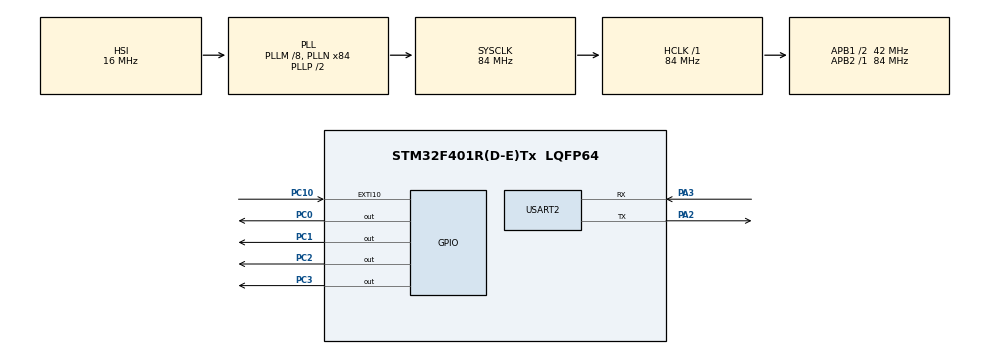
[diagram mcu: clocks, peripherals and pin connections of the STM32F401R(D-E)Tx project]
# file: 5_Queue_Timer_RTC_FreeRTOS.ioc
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Mcu.Family=STM32F4
Mcu.Name=STM32F401R(D-E)Tx
Mcu.Package=LQFP64
NVIC.EXTI15_10_IRQn=true\:0\:0\:false\:false\:true\:true\:true\:true
NVIC.PriorityGroup=NVIC_PRIORITYGROUP_4
NVIC.TIM2_IRQn=true\:15\:0\:false\:false\:true\:false\:true\:true
NVIC.TimeBase=TIM2_IRQn
NVIC.TimeBaseIP=TIM2
NVIC.USART2_IRQn=true\:0\:0\:false\:false\:true\:true\:true\:true
PA2.Mode=Asynchronous
PA2.Signal=USART2_TX
PA3.Mode=Asynchronous
PA3.Signal=USART2_RX
PC0.GPIO_Speed=GPIO_SPEED_FREQ_VERY_HIGH
PC0.Signal=GPIO_Output
PC1.GPIO_Speed=GPIO_SPEED_FREQ_VERY_HIGH
PC1.Signal=GPIO_Output
PC10.GPIO_PuPd=GPIO_PULLDOWN
PC10.Signal=GPXTI10
PC2.GPIO_Speed=GPIO_SPEED_FREQ_VERY_HIGH
PC2.Signal=GPIO_Output
PC3.GPIO_Speed=GPIO_SPEED_FREQ_VERY_HIGH
PC3.Signal=GPIO_Output
ProjectManager.HeapSize=0x200
ProjectManager.StackSize=0x400
ProjectManager.TargetToolchain=STM32CubeIDE
RCC.48MHZClocksFreq_Value=42000000
RCC.AHBFreq_Value=84000000
RCC.APB1CLKDivider=RCC_HCLK_DIV2
RCC.APB1Freq_Value=42000000
RCC.APB1TimFreq_Value=84000000
RCC.APB2Freq_Value=84000000
RCC.APB2TimFreq_Value=84000000
RCC.CortexFreq_Value=84000000
RCC.HCLKFreq_Value=84000000
RCC.HSE_VALUE=25000000
RCC.HSI_VALUE=16000000
RCC.LSE_VALUE=32768
RCC.PLLM=8
RCC.PLLN=84
RCC.SYSCLKFreq_VALUE=84000000
RCC.SYSCLKSource=RCC_SYSCLKSOURCE_PLLCLK
RCC.VCOOutputFreq_Value=168000000
RTC.Date=23
RTC.Format=RTC_FORMAT_BCD
RTC.Hours=12
RTC.Minutes=12
RTC.Month=RTC_MONTH_MAY
RTC.Seconds=19
RTC.Year=23
USART2.VirtualMode=VM_ASYNC
VP_RTC_VS_RTC_Activate.Mode=RTC_Enabled
VP_RTC_VS_RTC_Calendar.Mode=RTC_Calendar
VP_SYS_VS_tim2.Mode=TIM2
board=custom

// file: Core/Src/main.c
/* USER CODE BEGIN Header */
/**
  ******************************************************************************
  * @file           : main.c
  * @brief          : Main program body
  ******************************************************************************
  * @attention
  *
  * Copyright (c) 2023 STMicroelectronics.
  * All rights reserved.
  *
  * This software is licensed under terms that can be found in the LICENSE file
  * in the root directory of this software component.
  * If no LICENSE file comes with this software, it is provided AS-IS.
  *
  ******************************************************************************
  */
/* USER CODE END Header */
#include "main.h"

RTC_HandleTypeDef hrtc;

UART_HandleTypeDef huart2;

/* USER CODE BEGIN PV */

#define DWT_CTRL (*(volatile uint32_t*)0xE0001000)
BaseType_t status;
char rx_buffer[50];
TimerHandle_t led_timer[4];
TimerHandle_t rtc_timer;
state_t current_state;
/*********Private Handles*******/
TaskHandle_t Menu_Task_Handle;
TaskHandle_t CMD_Handle;
TaskHandle_t Print_Handle;
TaskHandle_t LED_Handle;
TaskHandle_t RTC_Handle;
/*********Private Queues*******/
QueueHandle_t Input_Data_Queue;
QueueHandle_t Print_Queue;

volatile uint8_t user_data;
/* USER CODE END PV */

void SystemClock_Config(void);
static void MX_GPIO_Init(void);
static void MX_USART2_UART_Init(void);
static void MX_RTC_Init(void);
void rtc_report_callback( TimerHandle_t xTimer );
/* USER CODE BEGIN PFP */
void LED_Effect_Callback(TimerHandle_t xTimer);
void led_effect_stop(void);

void led_effect(int n);

void turn_off_all_leds(void);

void turn_on_all_leds(void);

void turn_on_odd_leds(void);

/* USER CODE END PFP */

int main(void)
{

  /* MCU Configuration--------------------------------------------------------*/

  /* Reset of all peripherals, Initializes the Flash interface and the Systick. */
  HAL_Init();

  /* Configure the system clock */
  SystemClock_Config();

  /* Initialize all configured peripherals */
  MX_GPIO_Init();
  MX_USART2_UART_Init();
  MX_RTC_Init();
  /* USER CODE BEGIN 2 */

  DWT_CTRL |= (1<<0);

  SEGGER_SYSVIEW_Conf();
  vSetVarulMaxPRIGROUPValue();
  SEGGER_SYSVIEW_Start();

/**********************************PREEMPTIVE IS DISABLED SO CO-OPERATIVE SCHEDULING IS WORKING********************/
  status = xTaskCreate(Menu_Handler,"Menu Task",250,NULL,3,&Menu_Task_Handle);
  configASSERT(status == pdPASS);

  status = xTaskCreate(CMD_Handler,"CMD TASK",250,NULL,3,&CMD_Handle);
  configASSERT(status == pdPASS);

  status = xTaskCreate(Print_Handler,"Print Task",250,NULL,3,&Print_Handle);
  configASSERT(status == pdPASS);

  status = xTaskCreate(LED_Handler,"Led Task",250,NULL,3,&LED_Handle);
  configASSERT(status == pdPASS);

  status = xTaskCreate(RTC_Handler,"RTC TASK",250,NULL,3,&RTC_Handle);
  configASSERT(status == pdPASS);

  Input_Data_Queue = xQueueCreate(10,sizeof(char));
  configASSERT(Input_Data_Queue !=NULL);

  Print_Queue = xQueueCreate(10,sizeof(size_t));
  configASSERT(Print_Queue !=NULL);

  for(int i = 0;i<4;i++)
  {
	  led_timer[i] = xTimerCreate("Led Timer",pdMS_TO_TICKS(500),pdTRUE,(void*)(i+1),LED_Effect_Callback);

  }
rtc_timer = xTimerCreate ("rtc_report_timer",pdMS_TO_TICKS(1000),pdTRUE,NULL,rtc_report_callback);

  HAL_UART_Receive_IT(&huart2,(uint8_t *)&user_data, 1);
  vTaskStartScheduler();

  /* USER CODE END 2 */

  /* Infinite loop */
  while (1)
  {

  }
}

void SystemClock_Config(void)
{
  RCC_OscInitTypeDef RCC_OscInitStruct = {0};
  RCC_ClkInitTypeDef RCC_ClkInitStruct = {0};

  /** Configure the main internal regulator output voltage
  */
  __HAL_RCC_PWR_CLK_ENABLE();
  __HAL_PWR_VOLTAGESCALING_CONFIG(PWR_REGULATOR_VOLTAGE_SCALE2);

  /** Initializes the RCC Oscillators according to the specified parameters
  * in the RCC_OscInitTypeDef structure.
  */
  RCC_OscInitStruct.OscillatorType = RCC_OSCILLATORTYPE_HSI|RCC_OSCILLATORTYPE_LSI;
  RCC_OscInitStruct.HSIState = RCC_HSI_ON;
  RCC_OscInitStruct.HSICalibrationValue = RCC_HSICALIBRATION_DEFAULT;
  RCC_OscInitStruct.LSIState = RCC_LSI_ON;
  RCC_OscInitStruct.PLL.PLLState = RCC_PLL_ON;
  RCC_OscInitStruct.PLL.PLLSource = RCC_PLLSOURCE_HSI;
  RCC_OscInitStruct.PLL.PLLM = 8;
  RCC_OscInitStruct.PLL.PLLN = 84;
  RCC_OscInitStruct.PLL.PLLP = RCC_PLLP_DIV2;
  RCC_OscInitStruct.PLL.PLLQ = 4;
  if (HAL_RCC_OscConfig(&RCC_OscInitStruct) != HAL_OK)
  {
    Error_Handler();
  }

  /** Initializes the CPU, AHB and APB buses clocks
  */
  RCC_ClkInitStruct.ClockType = RCC_CLOCKTYPE_HCLK|RCC_CLOCKTYPE_SYSCLK
                              |RCC_CLOCKTYPE_PCLK1|RCC_CLOCKTYPE_PCLK2;
  RCC_ClkInitStruct.SYSCLKSource = RCC_SYSCLKSOURCE_PLLCLK;
  RCC_ClkInitStruct.AHBCLKDivider = RCC_SYSCLK_DIV1;
  RCC_ClkInitStruct.APB1CLKDivider = RCC_HCLK_DIV2;
  RCC_ClkInitStruct.APB2CLKDivider = RCC_HCLK_DIV1;

  if (HAL_RCC_ClockConfig(&RCC_ClkInitStruct, FLASH_LATENCY_2) != HAL_OK)
  {
    Error_Handler();
  }
}

static void MX_RTC_Init(void)
{

  RTC_TimeTypeDef sTime = {0};
  RTC_DateTypeDef sDate = {0};

  /** Initialize RTC Only
  */
  hrtc.Instance = RTC;
  hrtc.Init.HourFormat = RTC_HOURFORMAT_24;
  hrtc.Init.AsynchPrediv = 127;
  hrtc.Init.SynchPrediv = 255;
  hrtc.Init.OutPut = RTC_OUTPUT_DISABLE;
  hrtc.Init.OutPutPolarity = RTC_OUTPUT_POLARITY_HIGH;
  hrtc.Init.OutPutType = RTC_OUTPUT_TYPE_OPENDRAIN;
  if (HAL_RTC_Init(&hrtc) != HAL_OK)
  {
    Error_Handler();
  }

  /** Initialize RTC and set the Time and Date
  */
  sTime.Hours = 0x12;
  sTime.Minutes = 0x12;
  sTime.Seconds = 0x19;
  sTime.DayLightSaving = RTC_DAYLIGHTSAVING_NONE;
  sTime.StoreOperation = RTC_STOREOPERATION_RESET;
  if (HAL_RTC_SetTime(&hrtc, &sTime, RTC_FORMAT_BCD) != HAL_OK)
  {
    Error_Handler();
  }
  sDate.WeekDay = RTC_WEEKDAY_MONDAY;
  sDate.Month = RTC_MONTH_MAY;
  sDate.Date = 0x23;
  sDate.Year = 0x23;

  if (HAL_RTC_SetDate(&hrtc, &sDate, RTC_FORMAT_BCD) != HAL_OK)
  {
    Error_Handler();
  }

}

static void MX_USART2_UART_Init(void)
{

  huart2.Instance = USART2;
  huart2.Init.BaudRate = 115200;
  huart2.Init.WordLength = UART_WORDLENGTH_8B;
  huart2.Init.StopBits = UART_STOPBITS_1;
  huart2.Init.Parity = UART_PARITY_NONE;
  huart2.Init.Mode = UART_MODE_TX_RX;
  huart2.Init.HwFlowCtl = UART_HWCONTROL_NONE;
  huart2.Init.OverSampling = UART_OVERSAMPLING_16;
  if (HAL_UART_Init(&huart2) != HAL_OK)
  {
    Error_Handler();
  }

}

static void MX_GPIO_Init(void)
{
  GPIO_InitTypeDef GPIO_InitStruct = {0};

  /* GPIO Ports Clock Enable */
  __HAL_RCC_GPIOC_CLK_ENABLE();
  __HAL_RCC_GPIOA_CLK_ENABLE();

  /*Configure GPIO pin Output Level */
  HAL_GPIO_WritePin(GPIOC, GPIO_PIN_0|GPIO_PIN_1|GPIO_PIN_2|GPIO_PIN_3, GPIO_PIN_RESET);

  /*Configure GPIO pins : PC0 PC1 PC2 PC3 */
  GPIO_InitStruct.Pin = GPIO_PIN_0|GPIO_PIN_1|GPIO_PIN_2|GPIO_PIN_3;
  GPIO_InitStruct.Mode = GPIO_MODE_OUTPUT_PP;
  GPIO_InitStruct.Pull = GPIO_NOPULL;
  GPIO_InitStruct.Speed = GPIO_SPEED_FREQ_VERY_HIGH;
  HAL_GPIO_Init(GPIOC, &GPIO_InitStruct);

  /*Configure GPIO pin : PC10 */
  GPIO_InitStruct.Pin = GPIO_PIN_10;
  GPIO_InitStruct.Mode = GPIO_MODE_IT_RISING;
  GPIO_InitStruct.Pull = GPIO_PULLDOWN;
  HAL_GPIO_Init(GPIOC, &GPIO_InitStruct);

  /* EXTI interrupt init*/
  HAL_NVIC_SetPriority(EXTI15_10_IRQn, 6, 0);
  HAL_NVIC_EnableIRQ(EXTI15_10_IRQn);

}

/* USER CODE BEGIN 4 */
void rtc_report_callback( TimerHandle_t xTimer )
{
	 show_time_date_itm();

}
void HAL_UART_RxCpltCallback(UART_HandleTypeDef *huart)
{
	 uint8_t dummy;
	for(uint32_t i = 0 ; i < 500 ; i++);

	if(!xQueueIsQueueFullFromISR(Input_Data_Queue))
	{
		/*Queue is not full */

		xQueueSendFromISR(Input_Data_Queue,(void*)&user_data,NULL);

	}else{
		/*Queue is full */

		if(user_data == '\n')
		{

			xQueueReceiveFromISR(Input_Data_Queue,(void*)&dummy,NULL);
			xQueueSendFromISR(Input_Data_Queue,(void*)&user_data , NULL);
		}
	}

	 if( user_data == '\n' ){
		/*send notification to command handling task */
		xTaskNotifyFromISR(CMD_Handle,0,eNoAction,NULL);
	}

	/* Enable UART data byte reception again in IT mode */
	 HAL_UART_Receive_IT(&huart2, (uint8_t*)&user_data, 1);

}

void LED_Effect_Callback(TimerHandle_t xTimer)
{
	int id;
	id = (uint32_t) pvTimerGetTimerID(xTimer);
	switch(id)
	{
	case 1:
		LED_effect1();
		break;
	case 2:
		LED_effect2();
		break;
	case 3:
		LED_effect3();
		break;
	case 4:
		LED_effect4();
		break;

	}

}
void led_effect_stop(void)
{
   for(int i = 0;i<4;i++)
   {
	   xTimerStop(led_timer[i],portMAX_DELAY);

   }
}
void led_effect(int n)
{
    led_effect_stop();
    xTimerStart(led_timer[n-1],portMAX_DELAY);

}
void turn_off_all_leds(void)
{
	HAL_GPIO_WritePin(GPIOC, GPIO_PIN_0|GPIO_PIN_1|GPIO_PIN_2|GPIO_PIN_3,GPIO_PIN_RESET);

}
void turn_on_all_leds(void)
{
	HAL_GPIO_WritePin(GPIOC, GPIO_PIN_0|GPIO_PIN_1|GPIO_PIN_2|GPIO_PIN_3,GPIO_PIN_SET);

}
void turn_on_odd_leds(void)
{
	HAL_GPIO_WritePin(GPIOC,GPIO_PIN_1|GPIO_PIN_3,GPIO_PIN_SET);
	HAL_GPIO_WritePin(GPIOC, GPIO_PIN_0|GPIO_PIN_2,GPIO_PIN_RESET);

}
void turn_on_even_leds(void)
{
	HAL_GPIO_WritePin(GPIOC,GPIO_PIN_1|GPIO_PIN_3,GPIO_PIN_RESET);
	HAL_GPIO_WritePin(GPIOC, GPIO_PIN_0|GPIO_PIN_2,GPIO_PIN_SET);

}

void LED_control( int value )
{
  for(int i = 0 ; i < 4 ; i++)
	  HAL_GPIO_WritePin(GPIOC, (GPIO_PIN_0 << i), ((value >> i)& 0x1));
}

void LED_effect1(void)
{
	static int flag = 1;
	(flag ^= 1) ? turn_off_all_leds() : turn_on_all_leds();
}

void LED_effect2(void)
{
	static int flag = 1;
	(flag ^= 1) ? turn_on_even_leds() : turn_on_odd_leds();
}

void LED_effect3(void)
{
	static int i = 0;
	LED_control( 0x1 << (i++ % 4) );
}

void LED_effect4(void)
{
	static int i = 0;
	LED_control( 0x08 >> (i++ % 4) );
}
/* USER CODE END 4 */

void HAL_TIM_PeriodElapsedCallback(TIM_HandleTypeDef *htim)
{
  if (htim->Instance == TIM2) {
    HAL_IncTick();
  }
}

void Error_Handler(void)
{
  __disable_irq();
  while (1)
  {
  }
}
